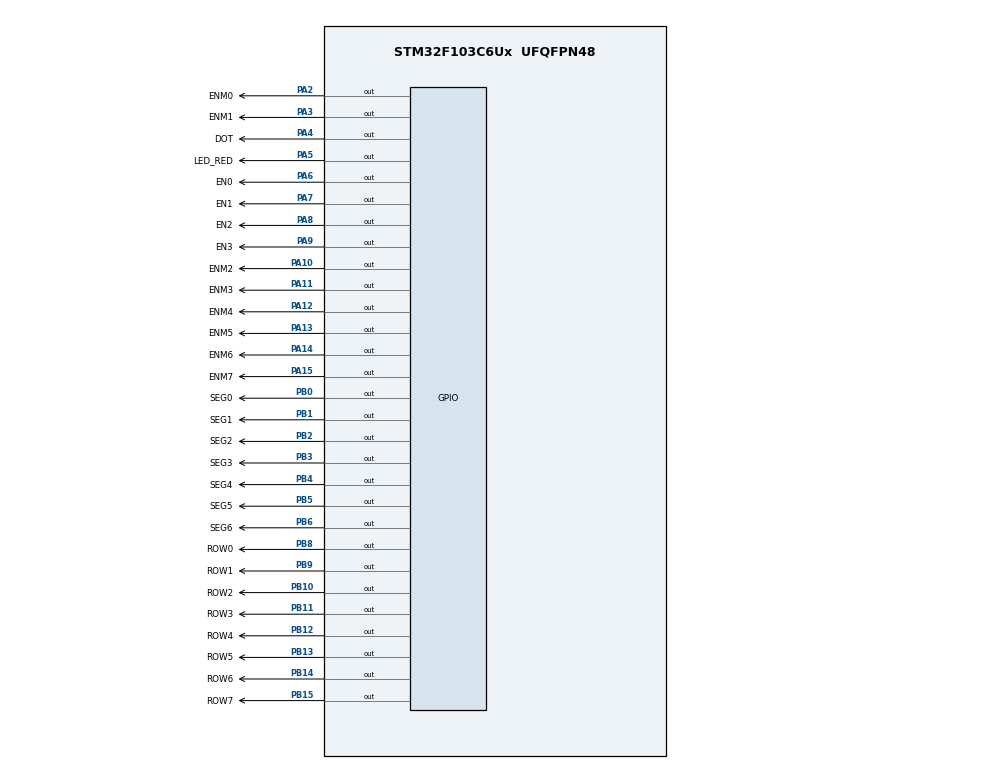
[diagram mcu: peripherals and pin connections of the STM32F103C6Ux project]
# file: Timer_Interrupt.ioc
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Mcu.Family=STM32F1
Mcu.Name=STM32F103C6Ux
Mcu.Package=UFQFPN48
NVIC.PriorityGroup=NVIC_PRIORITYGROUP_4
NVIC.TIM2_IRQn=true\:0\:0\:false\:false\:true\:true\:true
PA10.GPIO_Label=ENM2
PA10.Signal=GPIO_Output
PA11.GPIO_Label=ENM3
PA11.Signal=GPIO_Output
PA12.GPIO_Label=ENM4
PA12.Signal=GPIO_Output
PA13.GPIO_Label=ENM5
PA13.Signal=GPIO_Output
PA14.GPIO_Label=ENM6
PA14.Signal=GPIO_Output
PA15.GPIO_Label=ENM7
PA15.Signal=GPIO_Output
PA2.GPIO_Label=ENM0
PA2.Signal=GPIO_Output
PA3.GPIO_Label=ENM1
PA3.Signal=GPIO_Output
PA4.GPIO_Label=DOT
PA4.Signal=GPIO_Output
PA5.GPIO_Label=LED_RED
PA5.Signal=GPIO_Output
PA6.GPIO_Label=EN0
PA6.Signal=GPIO_Output
PA7.GPIO_Label=EN1
PA7.Signal=GPIO_Output
PA8.GPIO_Label=EN2
PA8.Signal=GPIO_Output
PA9.GPIO_Label=EN3
PA9.Signal=GPIO_Output
PB0.GPIO_Label=SEG0
PB0.Signal=GPIO_Output
PB1.GPIO_Label=SEG1
PB1.Signal=GPIO_Output
PB10.GPIO_Label=ROW2
PB10.Signal=GPIO_Output
PB11.GPIO_Label=ROW3
PB11.Signal=GPIO_Output
PB12.GPIO_Label=ROW4
PB12.Signal=GPIO_Output
PB13.GPIO_Label=ROW5
PB13.Signal=GPIO_Output
PB14.GPIO_Label=ROW6
PB14.Signal=GPIO_Output
PB15.GPIO_Label=ROW7
PB15.Signal=GPIO_Output
PB2.GPIO_Label=SEG2
PB2.Signal=GPIO_Output
PB3.GPIO_Label=SEG3
PB3.Signal=GPIO_Output
PB4.GPIO_Label=SEG4
PB4.Signal=GPIO_Output
PB5.GPIO_Label=SEG5
PB5.Signal=GPIO_Output
PB6.GPIO_Label=SEG6
PB6.Signal=GPIO_Output
PB8.GPIO_Label=ROW0
PB8.Signal=GPIO_Output
PB9.GPIO_Label=ROW1
PB9.Signal=GPIO_Output
ProjectManager.HeapSize=0x200
ProjectManager.StackSize=0x400
ProjectManager.TargetToolchain=STM32CubeIDE
RCC.APB1Freq_Value=8000000
RCC.APB2Freq_Value=8000000
TIM2.Period=9
TIM2.Prescaler=7999
VP_SYS_VS_ND.Mode=No_Debug
VP_TIM2_VS_ClockSourceINT.Mode=Internal
board=custom

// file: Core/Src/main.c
/* USER CODE BEGIN Header */
/**
  ******************************************************************************
  * @file           : main.c
  * @brief          : Main program body
  ******************************************************************************
  * @attention
  *
  * <h2><center>&copy; Copyright (c) 2023 STMicroelectronics.
  * All rights reserved.</center></h2>
  *
  * This software component is licensed by ST under BSD 3-Clause license,
  * the "License"; You may not use this file except in compliance with the
  * License. You may obtain a copy of the License at:
  *                        opensource.org/licenses/BSD-3-Clause
  *
  ******************************************************************************
  */
/* USER CODE END Header */
#include "main.h"

TIM_HandleTypeDef htim2;

void SystemClock_Config(void);
static void MX_GPIO_Init(void);
static void MX_TIM2_Init(void);
/* USER CODE BEGIN PFP */
void display7SEG(int num);
void update7SEG(int index);

void updateClockBuffer(void);

void displayLEDMatrix(int num);
void updateLEDMatrix(int index);
/* USER CODE END PFP */

/* USER CODE BEGIN 0 */

const int MAX_LED = 4;
int index_led = 0;
int led_buffer[4] = {1, 3, 5, 6};

const int MAX_LED_MATRIX = 8;
const int MAX_FRAME_MATRIX = 16;
int index_led_matrix = 0;
int index_frame_matrix = 0;
uint8_t matrix_buffer[16][8] = {
								{0x00, 0x00, 0x00, 0x00, 0x00, 0x00, 0x00, 0x00},
								{0x00, 0x00, 0x00, 0x00, 0x00, 0x00, 0x00, 0x18},
								{0x00, 0x00, 0x00, 0x00, 0x00, 0x00, 0x18, 0x18},
								{0x00, 0x00, 0x00, 0x00, 0x00, 0x18, 0x18, 0x18},
								{0x00, 0x00, 0x00, 0x00, 0x18, 0x18, 0x18, 0x99},
								{0x00, 0x00, 0x00, 0x18, 0x18, 0x18, 0x99, 0xDB},
								{0x00, 0x00, 0x18, 0x18, 0x18, 0x99, 0xDB, 0x7E},
								{0x00, 0x18, 0x18, 0x18, 0x99, 0xDB, 0x7E, 0x3C},
								{0x18, 0x18, 0x18, 0x99, 0xDB, 0x7E, 0x3C, 0x18},
								{0x18, 0x18, 0x99, 0xDB, 0x7E, 0x3C, 0x18, 0x00},
								{0x18, 0x99, 0xDB, 0x7E, 0x3C, 0x18, 0x00, 0x00},
								{0x99, 0xDB, 0x7E, 0x3C, 0x18, 0x00, 0x00, 0x00},
								{0xDB, 0x7E, 0x3C, 0x18, 0x00, 0x00, 0x00, 0x00},
								{0x7E, 0x3C, 0x18, 0x00, 0x00, 0x00, 0x00, 0x00},
								{0x3C, 0x18, 0x00, 0x00, 0x00, 0x00, 0x00, 0x00},
								{0x18, 0x00, 0x00, 0x00, 0x00, 0x00, 0x00, 0x00}
								};
int scanner[8] = {1, 2, 4, 8, 16, 32, 64, 128};

int hour = 15, minute = 8, second = 50;
int TIMER_CYCLE = 10;

int timer0_counter = 0;
int timer0_flag = 0;
void setTimer0(int duration){
	timer0_counter = duration / TIMER_CYCLE;
	timer0_flag = 0;
}

int timerLED_counter = 0;
int timerLED_flag = 0;
void setTimerLED(int duration) {
	timerLED_counter = duration / TIMER_CYCLE;
	timerLED_flag = 0;
}

int timerMATRIX_counter = 0;
int timerMATRIX_flag = 0;
void setTimerMATRIX(int duration) {
	timerMATRIX_counter = duration / TIMER_CYCLE;
	timerMATRIX_flag = 0;
}

void timer_run(){
	if(timer0_counter > 0){
		timer0_counter--;
		if(timer0_counter == 0) timer0_flag = 1;
	}
	if(timerLED_counter > 0){
		timerLED_counter--;
		if(timerLED_counter == 0) timerLED_flag = 1;
	}
	if(timerMATRIX_counter > 0){
		timerMATRIX_counter--;
		if(timerMATRIX_counter == 0) timerMATRIX_flag = 1;
	}
}
/* USER CODE END 0 */

int main(void)
{

  /* MCU Configuration--------------------------------------------------------*/

  /* Reset of all peripherals, Initializes the Flash interface and the Systick. */
  HAL_Init();

  /* Configure the system clock */
  SystemClock_Config();

  /* Initialize all configured peripherals */
  MX_GPIO_Init();
  MX_TIM2_Init();
  /* USER CODE BEGIN 2 */
  HAL_TIM_Base_Start_IT(&htim2);
	HAL_GPIO_WritePin(GPIOA, EN0_Pin, GPIO_PIN_RESET);
	HAL_GPIO_WritePin(GPIOA, EN1_Pin, GPIO_PIN_SET);
	HAL_GPIO_WritePin(GPIOA, EN2_Pin, GPIO_PIN_SET);
	HAL_GPIO_WritePin(GPIOA, EN3_Pin, GPIO_PIN_SET);
	display7SEG(1);

	setTimerMATRIX(TIMER_CYCLE);
	setTimerLED(TIMER_CYCLE);
	setTimer0(TIMER_CYCLE);
  /* USER CODE END 2 */

  /* Infinite loop */
  /* USER CODE BEGIN WHILE */
  while (1)
  {
	if(timer0_flag == 1){
		second++;
		if(second >= 60) {
		  minute++;
		  second = 0;
		}
		if(minute >= 60) {
		  hour++;
		  minute = 0;
		}
		if(hour >= 24) {
		  hour = 0;
		}
		updateClockBuffer();
		HAL_GPIO_TogglePin(LED_RED_GPIO_Port, LED_RED_Pin);
		HAL_GPIO_TogglePin(GPIOA, DOT_Pin);
		setTimer0(1000);
	}
	if(timerLED_flag == 1) {
		update7SEG(index_led++);
		index_led = index_led % MAX_LED;
		setTimerLED(500);
	}

	if(timerMATRIX_flag == 1) {
		displayLEDMatrix(-1);
		updateLEDMatrix(index_led_matrix++);
		if(index_led_matrix >= MAX_LED_MATRIX) {
			index_led_matrix = 0;
			index_frame_matrix++;
			index_frame_matrix = index_frame_matrix % MAX_FRAME_MATRIX;
		}
		setTimerMATRIX(TIMER_CYCLE);
	}
    /* USER CODE END WHILE */

  }
}

void SystemClock_Config(void)
{
  RCC_OscInitTypeDef RCC_OscInitStruct = {0};
  RCC_ClkInitTypeDef RCC_ClkInitStruct = {0};

  /** Initializes the RCC Oscillators according to the specified parameters
  * in the RCC_OscInitTypeDef structure.
  */
  RCC_OscInitStruct.OscillatorType = RCC_OSCILLATORTYPE_HSI;
  RCC_OscInitStruct.HSIState = RCC_HSI_ON;
  RCC_OscInitStruct.HSICalibrationValue = RCC_HSICALIBRATION_DEFAULT;
  RCC_OscInitStruct.PLL.PLLState = RCC_PLL_NONE;
  if (HAL_RCC_OscConfig(&RCC_OscInitStruct) != HAL_OK)
  {
    Error_Handler();
  }
  /** Initializes the CPU, AHB and APB buses clocks
  */
  RCC_ClkInitStruct.ClockType = RCC_CLOCKTYPE_HCLK|RCC_CLOCKTYPE_SYSCLK
                              |RCC_CLOCKTYPE_PCLK1|RCC_CLOCKTYPE_PCLK2;
  RCC_ClkInitStruct.SYSCLKSource = RCC_SYSCLKSOURCE_HSI;
  RCC_ClkInitStruct.AHBCLKDivider = RCC_SYSCLK_DIV1;
  RCC_ClkInitStruct.APB1CLKDivider = RCC_HCLK_DIV1;
  RCC_ClkInitStruct.APB2CLKDivider = RCC_HCLK_DIV1;

  if (HAL_RCC_ClockConfig(&RCC_ClkInitStruct, FLASH_LATENCY_0) != HAL_OK)
  {
    Error_Handler();
  }
}

static void MX_TIM2_Init(void)
{

  TIM_ClockConfigTypeDef sClockSourceConfig = {0};
  TIM_MasterConfigTypeDef sMasterConfig = {0};

  htim2.Instance = TIM2;
  htim2.Init.Prescaler = 7999;
  htim2.Init.CounterMode = TIM_COUNTERMODE_UP;
  htim2.Init.Period = 9;
  htim2.Init.ClockDivision = TIM_CLOCKDIVISION_DIV1;
  htim2.Init.AutoReloadPreload = TIM_AUTORELOAD_PRELOAD_DISABLE;
  if (HAL_TIM_Base_Init(&htim2) != HAL_OK)
  {
    Error_Handler();
  }
  sClockSourceConfig.ClockSource = TIM_CLOCKSOURCE_INTERNAL;
  if (HAL_TIM_ConfigClockSource(&htim2, &sClockSourceConfig) != HAL_OK)
  {
    Error_Handler();
  }
  sMasterConfig.MasterOutputTrigger = TIM_TRGO_RESET;
  sMasterConfig.MasterSlaveMode = TIM_MASTERSLAVEMODE_DISABLE;
  if (HAL_TIMEx_MasterConfigSynchronization(&htim2, &sMasterConfig) != HAL_OK)
  {
    Error_Handler();
  }

}

static void MX_GPIO_Init(void)
{
  GPIO_InitTypeDef GPIO_InitStruct = {0};

  /* GPIO Ports Clock Enable */
  __HAL_RCC_GPIOA_CLK_ENABLE();
  __HAL_RCC_GPIOB_CLK_ENABLE();

  /*Configure GPIO pin Output Level */
  HAL_GPIO_WritePin(GPIOA, ENM0_Pin|ENM1_Pin|DOT_Pin|LED_RED_Pin
                          |EN0_Pin|EN1_Pin|EN2_Pin|EN3_Pin
                          |ENM2_Pin|ENM3_Pin|ENM4_Pin|ENM5_Pin
                          |ENM6_Pin|ENM7_Pin, GPIO_PIN_RESET);

  /*Configure GPIO pin Output Level */
  HAL_GPIO_WritePin(GPIOB, SEG0_Pin|SEG1_Pin|SEG2_Pin|ROW2_Pin
                          |ROW3_Pin|ROW4_Pin|ROW5_Pin|ROW6_Pin
                          |ROW7_Pin|SEG3_Pin|SEG4_Pin|SEG5_Pin
                          |SEG6_Pin|ROW0_Pin|ROW1_Pin, GPIO_PIN_RESET);

  /*Configure GPIO pins : ENM0_Pin ENM1_Pin DOT_Pin LED_RED_Pin
                           EN0_Pin EN1_Pin EN2_Pin EN3_Pin
                           ENM2_Pin ENM3_Pin ENM4_Pin ENM5_Pin
                           ENM6_Pin ENM7_Pin */
  GPIO_InitStruct.Pin = ENM0_Pin|ENM1_Pin|DOT_Pin|LED_RED_Pin
                          |EN0_Pin|EN1_Pin|EN2_Pin|EN3_Pin
                          |ENM2_Pin|ENM3_Pin|ENM4_Pin|ENM5_Pin
                          |ENM6_Pin|ENM7_Pin;
  GPIO_InitStruct.Mode = GPIO_MODE_OUTPUT_PP;
  GPIO_InitStruct.Pull = GPIO_NOPULL;
  GPIO_InitStruct.Speed = GPIO_SPEED_FREQ_LOW;
  HAL_GPIO_Init(GPIOA, &GPIO_InitStruct);

  /*Configure GPIO pins : SEG0_Pin SEG1_Pin SEG2_Pin ROW2_Pin
                           ROW3_Pin ROW4_Pin ROW5_Pin ROW6_Pin
                           ROW7_Pin SEG3_Pin SEG4_Pin SEG5_Pin
                           SEG6_Pin ROW0_Pin ROW1_Pin */
  GPIO_InitStruct.Pin = SEG0_Pin|SEG1_Pin|SEG2_Pin|ROW2_Pin
                          |ROW3_Pin|ROW4_Pin|ROW5_Pin|ROW6_Pin
                          |ROW7_Pin|SEG3_Pin|SEG4_Pin|SEG5_Pin
                          |SEG6_Pin|ROW0_Pin|ROW1_Pin;
  GPIO_InitStruct.Mode = GPIO_MODE_OUTPUT_PP;
  GPIO_InitStruct.Pull = GPIO_NOPULL;
  GPIO_InitStruct.Speed = GPIO_SPEED_FREQ_LOW;
  HAL_GPIO_Init(GPIOB, &GPIO_InitStruct);

}

/* USER CODE BEGIN 4 */
void HAL_TIM_PeriodElapsedCallback(TIM_HandleTypeDef *htim) {
	timer_run();
}

void display7SEG(int num) {
	switch (num) {
	case 0:
		HAL_GPIO_WritePin(GPIOB, SEG6_Pin, GPIO_PIN_SET);
		HAL_GPIO_WritePin(GPIOB, SEG0_Pin|SEG1_Pin|SEG2_Pin|SEG3_Pin|SEG4_Pin|SEG5_Pin, GPIO_PIN_RESET);
		break;
	case 1:
		HAL_GPIO_WritePin(GPIOB, SEG0_Pin|SEG3_Pin|SEG4_Pin|SEG5_Pin|SEG6_Pin, GPIO_PIN_SET);
		HAL_GPIO_WritePin(GPIOB, SEG1_Pin|SEG2_Pin, GPIO_PIN_RESET);
		break;
	case 2:
		HAL_GPIO_WritePin(GPIOB, SEG2_Pin|SEG5_Pin, GPIO_PIN_SET);
		HAL_GPIO_WritePin(GPIOB, SEG0_Pin|SEG1_Pin|SEG3_Pin|SEG4_Pin|SEG6_Pin, GPIO_PIN_RESET);
		break;
	case 3:
		HAL_GPIO_WritePin(GPIOB, SEG4_Pin|SEG5_Pin, GPIO_PIN_SET);
		HAL_GPIO_WritePin(GPIOB, SEG0_Pin|SEG1_Pin|SEG2_Pin|SEG3_Pin|SEG6_Pin, GPIO_PIN_RESET);
		break;
	case 4:
		HAL_GPIO_WritePin(GPIOB, SEG0_Pin|SEG3_Pin|SEG4_Pin, GPIO_PIN_SET);
		HAL_GPIO_WritePin(GPIOB, SEG1_Pin|SEG2_Pin|SEG5_Pin|SEG6_Pin, GPIO_PIN_RESET);
		break;
	case 5:
		HAL_GPIO_WritePin(GPIOB, SEG1_Pin|SEG4_Pin, GPIO_PIN_SET);
		HAL_GPIO_WritePin(GPIOB, SEG0_Pin|SEG2_Pin|SEG3_Pin|SEG5_Pin|SEG6_Pin, GPIO_PIN_RESET);
		break;
	case 6:
		HAL_GPIO_WritePin(GPIOB, SEG1_Pin, GPIO_PIN_SET);
		HAL_GPIO_WritePin(GPIOB, SEG0_Pin|SEG2_Pin|SEG3_Pin|SEG4_Pin|SEG5_Pin|SEG6_Pin, GPIO_PIN_RESET);
		break;
	case 7:
		HAL_GPIO_WritePin(GPIOB, SEG3_Pin|SEG4_Pin|SEG5_Pin|SEG6_Pin, GPIO_PIN_SET);
		HAL_GPIO_WritePin(GPIOB, SEG0_Pin|SEG1_Pin|SEG2_Pin, GPIO_PIN_RESET);
		break;
	case 8:
		HAL_GPIO_WritePin(GPIOB, SEG0_Pin|SEG1_Pin|SEG2_Pin|SEG3_Pin|SEG4_Pin|SEG5_Pin|SEG6_Pin, GPIO_PIN_RESET);
		break;
	case 9:
		HAL_GPIO_WritePin(GPIOB, SEG4_Pin, GPIO_PIN_SET);
		HAL_GPIO_WritePin(GPIOB, SEG0_Pin|SEG1_Pin|SEG2_Pin|SEG3_Pin|SEG5_Pin|SEG6_Pin, GPIO_PIN_RESET);
		break;
	default:
		HAL_GPIO_WritePin(GPIOB, SEG0_Pin|SEG1_Pin|SEG2_Pin|SEG3_Pin|SEG4_Pin|SEG5_Pin|SEG6_Pin, GPIO_PIN_SET);
		break;
	}
}

void update7SEG(int index) {
	switch (index) {
	case 0:
		HAL_GPIO_WritePin(GPIOA, EN0_Pin, GPIO_PIN_RESET);
		HAL_GPIO_WritePin(GPIOA, EN1_Pin, GPIO_PIN_SET);
		HAL_GPIO_WritePin(GPIOA, EN2_Pin, GPIO_PIN_SET);
		HAL_GPIO_WritePin(GPIOA, EN3_Pin, GPIO_PIN_SET);
		display7SEG(led_buffer[index]);
		break;
	case 1:
		HAL_GPIO_WritePin(GPIOA, EN0_Pin, GPIO_PIN_SET);
		HAL_GPIO_WritePin(GPIOA, EN1_Pin, GPIO_PIN_RESET);
		HAL_GPIO_WritePin(GPIOA, EN2_Pin, GPIO_PIN_SET);
		HAL_GPIO_WritePin(GPIOA, EN3_Pin, GPIO_PIN_SET);
		display7SEG(led_buffer[index]);
		break;
	case 2:
		HAL_GPIO_WritePin(GPIOA, EN0_Pin, GPIO_PIN_SET);
		HAL_GPIO_WritePin(GPIOA, EN1_Pin, GPIO_PIN_SET);
		HAL_GPIO_WritePin(GPIOA, EN2_Pin, GPIO_PIN_RESET);
		HAL_GPIO_WritePin(GPIOA, EN3_Pin, GPIO_PIN_SET);
		display7SEG(led_buffer[index]);
		break;
	case 3:
		HAL_GPIO_WritePin(GPIOA, EN0_Pin, GPIO_PIN_SET);
		HAL_GPIO_WritePin(GPIOA, EN1_Pin, GPIO_PIN_SET);
		HAL_GPIO_WritePin(GPIOA, EN2_Pin, GPIO_PIN_SET);
		HAL_GPIO_WritePin(GPIOA, EN3_Pin, GPIO_PIN_RESET);
		display7SEG(led_buffer[index]);
		break;
	default:
		break;
	}
}

void updateClockBuffer(void) {
	led_buffer[0] = hour / 10;
	led_buffer[1] = hour % 10;
	led_buffer[2] = minute / 10;
	led_buffer[3] = minute % 10;
}

void displayLEDMatrix(int num) {
	switch (num){
	        case 0:
				HAL_GPIO_WritePin(GPIOB, ROW0_Pin, GPIO_PIN_RESET);
	            break;
	        case 1:
				HAL_GPIO_WritePin(GPIOB, ROW1_Pin, GPIO_PIN_RESET);
	            break;
	        case 2:
				HAL_GPIO_WritePin(GPIOB, ROW2_Pin, GPIO_PIN_RESET);
	            break;
	        case 3:
				HAL_GPIO_WritePin(GPIOB, ROW3_Pin, GPIO_PIN_RESET);
	            break;
	        case 4:
				HAL_GPIO_WritePin(GPIOB, ROW4_Pin, GPIO_PIN_RESET);
	            break;
	        case 5:
				HAL_GPIO_WritePin(GPIOB, ROW5_Pin, GPIO_PIN_RESET);
	            break;
	        case 6:
				HAL_GPIO_WritePin(GPIOB, ROW6_Pin, GPIO_PIN_RESET);
	            break;
	        case 7:
				HAL_GPIO_WritePin(GPIOB, ROW7_Pin, GPIO_PIN_RESET);
	            break;
	        default:
				HAL_GPIO_WritePin(GPIOB, ROW0_Pin|ROW1_Pin|ROW2_Pin|ROW3_Pin
										|ROW4_Pin|ROW5_Pin|ROW6_Pin|ROW7_Pin, GPIO_PIN_SET);
	            break;
	}
}

void updateLEDMatrix(int index){
    switch (index){
        case 0:
			HAL_GPIO_WritePin(GPIOA, ENM1_Pin|ENM2_Pin|ENM3_Pin|ENM4_Pin
									|ENM5_Pin|ENM6_Pin|ENM7_Pin, GPIO_PIN_SET);
			HAL_GPIO_WritePin(GPIOA, ENM0_Pin, GPIO_PIN_RESET);
            break;
        case 1:
			HAL_GPIO_WritePin(GPIOA, ENM0_Pin|ENM2_Pin|ENM3_Pin|ENM4_Pin
									|ENM5_Pin|ENM6_Pin|ENM7_Pin, GPIO_PIN_SET);
			HAL_GPIO_WritePin(GPIOA, ENM1_Pin, GPIO_PIN_RESET);
            break;
        case 2:
			HAL_GPIO_WritePin(GPIOA, ENM0_Pin|ENM1_Pin|ENM3_Pin|ENM4_Pin
									|ENM5_Pin|ENM6_Pin|ENM7_Pin, GPIO_PIN_SET);
			HAL_GPIO_WritePin(GPIOA, ENM2_Pin, GPIO_PIN_RESET);
            break;
        case 3:
			HAL_GPIO_WritePin(GPIOA, ENM0_Pin|ENM1_Pin|ENM2_Pin|ENM4_Pin
									|ENM5_Pin|ENM6_Pin|ENM7_Pin, GPIO_PIN_SET);
			HAL_GPIO_WritePin(GPIOA, ENM3_Pin, GPIO_PIN_RESET);
            break;
        case 4:
			HAL_GPIO_WritePin(GPIOA, ENM0_Pin|ENM1_Pin|ENM2_Pin|ENM3_Pin
									|ENM5_Pin|ENM6_Pin|ENM7_Pin, GPIO_PIN_SET);
			HAL_GPIO_WritePin(GPIOA, ENM4_Pin, GPIO_PIN_RESET);
            break;
        case 5:
			HAL_GPIO_WritePin(GPIOA, ENM0_Pin|ENM1_Pin|ENM2_Pin|ENM3_Pin
									|ENM4_Pin|ENM6_Pin|ENM7_Pin, GPIO_PIN_SET);
			HAL_GPIO_WritePin(GPIOA, ENM5_Pin, GPIO_PIN_RESET);
            break;
        case 6:
			HAL_GPIO_WritePin(GPIOA, ENM0_Pin|ENM1_Pin|ENM2_Pin|ENM3_Pin
									|ENM4_Pin|ENM5_Pin|ENM7_Pin, GPIO_PIN_SET);
			HAL_GPIO_WritePin(GPIOA, ENM6_Pin, GPIO_PIN_RESET);
            break;
        case 7:
			HAL_GPIO_WritePin(GPIOA, ENM0_Pin|ENM1_Pin|ENM2_Pin|ENM3_Pin
									|ENM4_Pin|ENM5_Pin|ENM6_Pin, GPIO_PIN_SET);
			HAL_GPIO_WritePin(GPIOA, ENM7_Pin, GPIO_PIN_RESET);
            break;
        default:
			HAL_GPIO_WritePin(GPIOA, ENM0_Pin|ENM1_Pin|ENM2_Pin|ENM3_Pin
									|ENM4_Pin|ENM5_Pin|ENM6_Pin|ENM7_Pin, GPIO_PIN_SET);
            break;
    }
    for(int row = 0; row < MAX_LED_MATRIX; ++row) {
    	if((matrix_buffer[index_frame_matrix][index] & scanner[row]) > 0) {
    		displayLEDMatrix(row);
    	}
    }
}
/* USER CODE END 4 */

void Error_Handler(void)
{
  __disable_irq();
  while (1)
  {
  }
}

/************************ (C) COPYRIGHT STMicroelectronics *****END OF FILE****/
